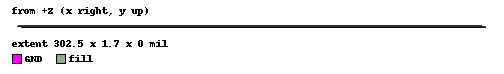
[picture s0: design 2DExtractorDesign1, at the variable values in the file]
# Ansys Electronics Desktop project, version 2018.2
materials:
  vacuum: permittivity=1
  copper: permeability=0.999991 conductivity=58000000
  perfect conductor: conductivity=1e+30
  Material1: permittivity=4.4

design 2DExtractorDesign1 (2D Extractor, Open, model units mil)
options: SParamCalcMethod=EqTransLine Calculate_Lossy_Dielectrics LumpedLength=1meter RiseTime=1ns DistribLengthUnits=meter
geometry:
  GND [perfect conductor] = rectangle(corner=(-100mil, 0mil, 0mil), x_size=300mil, y_size=-0.7mil)
  t1 [perfect conductor] = rectangle(corner=(-18mil, 0mil, 0mil), x_size=14mil, y_size=0.5mil)
  t2 [perfect conductor] = rectangle(corner=(-18mil, 0mil, 0mil), x_size=14mil, y_size=0.5mil)
  t2.move(21mil, 0mil, 0mil)
  fill [Material1] = rectangle(corner=(-102.5mil, -0.5mil, 0mil), x_size=300mil, y_size=0.5mil)
  [t2, fill, t1].move(0mil, 1.2mil, 0mil)
  GND.move(0mil, 0.7mil, 0mil)
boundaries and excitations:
  t1: SignalLine Objects=t1 SolveOption=SolveInside Thickness=-39370.079mil
  t2: SignalLine Objects=t2 SolveOption=SolveInside Thickness=-39370.079mil
  GND: ReferenceGround Objects=GND SolveOption=SolveInside Thickness=-39370.079mil
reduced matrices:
  DiffPairMatrix1: Operations{op(DiffPair1, 0, "DiffPair(SelectionArray[2: 5, 6], OverrideInfo(5, 'Pair1'))")}
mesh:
  initial mesh: MeshMethod=AnsoftClassic
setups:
  Setup1: 2DMatrix AdaptiveFreq=1GHz SaveFields CGDataBlock{MaxPass=10 MinPass=1 MinConvPass=1 PerError=1 PerRefine=30 Included PerErrorParamConv=1} RLDataBlock{MaxPass=10 MinPass=1 MinConvPass=1 PerError=1 PerRefine=30 Included PerErrorParamConv=1}
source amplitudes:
  t1: CG Fields 1V 0deg
  t2: CG Fields 0V 0deg
  t1: RL Fields 1A 0deg
  t2: RL Fields 0A 0deg
